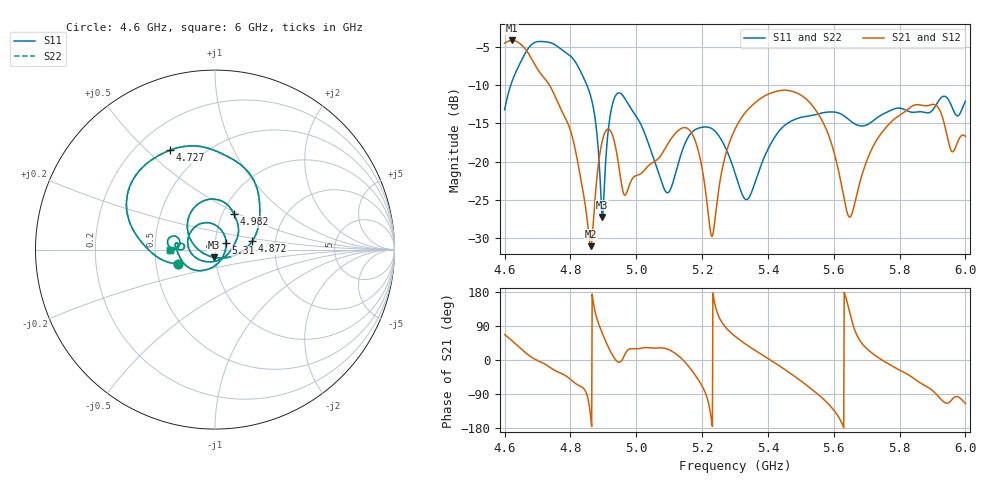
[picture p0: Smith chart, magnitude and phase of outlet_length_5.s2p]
! TOUCHSTONE file generated by CST MICROWAVE STUDIO
! Date and time: Mon Dec  2 04:50:23 2024
! Project name: test_tuning.cst
! Parameters = {airCoaxOuterDiameter=3; chamferAngle=45; chamferWidth=24; connectorLength=10; drillingHoleDiameter=4.1; feedLength=60; flareDiameter=130; flareLength=70; gratingDistance=0; gratingGap=1.90274; outletLength=25; polarizerLength=134; probe1Diameter=1.3; probe1Distance=14; probe1Length=1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
! Header version: 2024
! Port assignment regex: !\s*Touchstone port\s*([0-9]+)\s*=\s*(CST MWS port|CST DES external port|CST DES block port)\s*(.+)\s* \(\"(.*)\"\)(\s*mode\s*([0-9]+))?.*
! Touchstone port assignment:
! Touchstone port 1 = CST MWS port 1 ("Input1")
! Touchstone port 2 = CST MWS port 2 ("Input2")
# GHz S MA R 50
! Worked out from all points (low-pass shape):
!   1001 points, 4.6 GHz to 6 GHz, reference 50 ohm
!   highest |S21| = -4.13 dB at 4.622 GHz (marker M1); lowest = -31.1 dB at 4.862 GHz (marker M2)
!   |S21| within 3 dB of the highest: start of sweep to 4.69 GHz
!   lowest |S11| = -27.3 dB at 4.897 GHz (marker M3), VSWR 1.09, Z = 49.2 - j4.22 ohm
!   |S11| at or under -10 dB: start of sweep to 4.618509 GHz; 4.85 GHz to end of sweep
!   |S22| runs from -27.3 to -4.3 dB; largest |S21 - S12| = 1.3e-06
!   S11 on the Smith chart (normalised r, x): 4.6 GHz: 0.65, -0.11; 4.727 GHz: 0.34, +0.59; 4.872 GHz: 1.52, +0.15; 4.982 GHz: 1.13, +0.47; 5.31 GHz: 1.13, +0.08; 6 GHz: 0.60, -0.00
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4.6  0.2183 -158.8  0.5952 67.0  0.5952 67.0  0.2183 -158.8
4.6224  0.3345 -174.3  0.6214 51.1  0.6214 51.1  0.3345 -174.3
4.6756  0.5651 150.6  0.4974 11.1  0.4974 11.1  0.5651 150.6
4.7274  0.6079 114.4  0.3384 -13.5  0.3384 -13.5  0.6079 114.4
4.8338  0.3782 49.6  0.07213 -70.9  0.07213 -70.9  0.3782 49.6
4.8618  0.2669 26.3  0.02789 -152.8  0.02789 -152.8  0.2669 26.3
4.8716  0.2131 12.9  0.04603 141.0  0.04603 141.0  0.2131 12.9
4.8968  0.04327 -98.5  0.1368 70.5  0.1368 70.5  0.04327 -98.5
4.9304  0.2494 122.0  0.1429 9.0  0.1429 9.0  0.2494 122.0
4.9822  0.2251 62.2  0.07295 29.6  0.07295 29.6  0.2251 62.2
5.0676  0.08449 -7.0  0.1048 31.7  0.1048 31.7  0.08449 -7.0
5.0998  0.0634 -81.8  0.1348 26.9  0.1348 26.9  0.06339 -81.8
5.1656  0.1528 170.8  0.1569 -23.9  0.1569 -23.9  0.1528 170.8
5.23  0.1641 116.1  0.03232 -166.9  0.03232 -166.9  0.1641 116.1
5.3  0.08419 45.4  0.1627 62.7  0.1627 62.7  0.08419 45.4
5.3098  0.07211 30.2  0.1787 56.1  0.1787 56.1  0.07211 30.2
5.342  0.05789 -37.0  0.2222 36.1  0.2222 36.1  0.05789 -37.0
5.4274  0.1517 -129.7  0.2889 -11.1  0.2889 -11.1  0.1517 -129.7
5.5338  0.2005 -168.8  0.2342 -77.6  0.2342 -77.6  0.2005 -168.8
5.6486  0.1862 169.6  0.0432 125.3  0.0432 125.3  0.1862 169.6
5.7676  0.2137 177.8  0.1756 -10.8  0.1756 -10.8  0.2137 177.8
6  0.2488 -179.5  0.1462 -114.7  0.1462 -114.7  0.2488 -179.5
